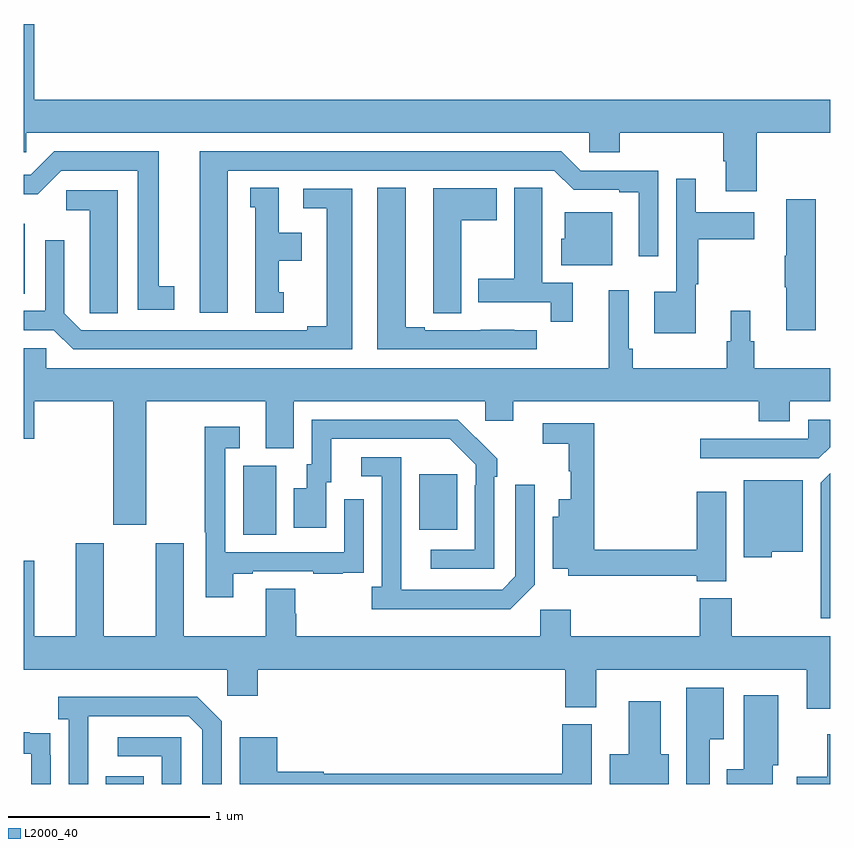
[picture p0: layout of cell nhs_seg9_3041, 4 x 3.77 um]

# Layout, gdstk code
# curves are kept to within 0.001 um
import gdstk
lib = gdstk.Library(unit=1e-6, precision=1e-09)
def R(c, l, rs):  # rectangles x0, y0, x1, y1
    for r in rs: c.add(gdstk.rectangle(r[:2], r[2:], *l))
def P(c, l, *ps):  # polygons
    for p in ps: c.add(gdstk.Polygon(p, *l))
L2000_40 = (2000, 40)

nhs_seg9_3041 = lib.new_cell('nhs_seg9_3041')
R(nhs_seg9_3041, L2000_40, [(285.407,1214.5,285.595,1214.539), (286.088,1215.736,286.252,1216.08), (286.961,1215.761,287.149,1216.036), (285,1216.933,285.004,1217.281)])
P(nhs_seg9_3041, L2000_40, [(285.052,1218.271),(285,1218.271),(285,1217.634),(285.012,1217.634),(285.012,1217.732),(287.805,1217.732),(287.805,1217.634),(287.957,1217.634),(287.957,1217.732),(288.47,1217.732),(288.47,1217.59),(288.482,1217.59),(288.482,1217.442),(288.635,1217.442),(288.635,1217.732),(289,1217.732),(289,1217.896),(285.052,1217.896)],
  [(285.745,1216.97),(285.67,1216.97),(285.67,1217.64),(285.15,1217.64),(285.033,1217.523),(285,1217.523),(285,1217.426),(285.068,1217.426),(285.186,1217.544),(285.566,1217.544),(285.566,1216.854),(285.745,1216.854)],
  [(286.012,1217.544),(287.631,1217.544),(287.727,1217.448),(287.954,1217.448),(287.954,1217.436),(288.05,1217.436),(288.05,1217.118),(288.147,1217.118),(288.147,1217.544),(287.763,1217.544),(287.667,1217.64),(285.872,1217.64),(285.872,1216.839),(286.012,1216.839)],
  [(288.334,1216.98),(288.346,1216.98),(288.346,1217.204),(288.625,1217.204),(288.625,1217.338),(288.334,1217.338),(288.334,1217.503),(288.237,1217.503),(288.237,1216.942),(288.128,1216.942),(288.128,1216.736),(288.334,1216.736)],
  [(287.545,1216.752),(287.432,1216.752),(287.432,1216.753),(287.266,1216.753),(287.266,1216.752),(286.99,1216.752),(286.99,1216.767),(286.894,1216.767),(286.894,1217.459),(286.754,1217.459),(286.754,1216.656),(287.545,1216.656)],
  [(286.288,1216.941),(286.264,1216.941),(286.264,1217.096),(286.378,1217.096),(286.378,1217.236),(286.264,1217.236),(286.264,1217.459),(286.124,1217.459),(286.124,1217.361),(286.148,1217.361),(286.148,1216.839),(286.288,1216.839)],
  [(287.723,1216.986),(287.572,1216.986),(287.572,1217.348),(287.571,1217.348),(287.571,1217.459),(287.432,1217.459),(287.432,1217.007),(287.255,1217.007),(287.255,1216.89),(287.614,1216.89),(287.614,1216.794),(287.723,1216.794)],
  [(287.17,1217.296),(287.347,1217.296),(287.347,1217.455),(287.03,1217.455),(287.03,1216.945),(287.031,1216.945),(287.031,1216.837),(287.17,1216.837)],
  [(286.63,1217.454),(286.386,1217.454),(286.386,1217.358),(286.502,1217.358),(286.502,1216.772),(286.406,1216.772),(286.406,1216.752),(285.285,1216.752),(285.201,1216.836),(285.201,1217.197),(285.105,1217.197),(285.105,1216.848),(285,1216.848),(285,1216.752),(285.149,1216.752),(285.245,1216.656),(286.63,1216.656)],
  [(285.466,1217.445),(285.21,1217.445),(285.21,1217.348),(285.326,1217.348),(285.326,1216.945),(285.327,1216.945),(285.327,1216.837),(285.466,1216.837)],
  [(288.929,1217.401),(288.782,1217.401),(288.782,1217.12),(288.775,1217.12),(288.775,1216.964),(288.782,1216.964),(288.782,1216.752),(288.929,1216.752)],
  [(287.92,1217.338),(287.684,1217.338),(287.684,1217.205),(287.666,1217.205),(287.666,1217.075),(287.92,1217.075)],
  [(285.607,1216.4),(286.199,1216.4),(286.199,1216.165),(286.339,1216.165),(286.339,1216.4),(287.289,1216.4),(287.289,1216.302),(287.428,1216.302),(287.428,1216.4),(288.647,1216.4),(288.647,1216.301),(288.799,1216.301),(288.799,1216.4),(289,1216.4),(289,1216.564),(288.623,1216.564),(288.623,1216.698),(288.604,1216.698),(288.604,1216.849),(288.506,1216.849),(288.506,1216.698),(288.487,1216.698),(288.487,1216.564),(288.02,1216.564),(288.02,1216.66),(288,1216.66),(288,1216.951),(287.903,1216.951),(287.903,1216.564),(285.111,1216.564),(285.111,1216.662),(285,1216.662),(285,1216.212),(285.052,1216.212),(285.052,1216.4),(285.443,1216.4),(285.443,1215.786),(285.607,1215.786)],
  [(287.334,1216.025),(287.349,1216.025),(287.349,1216.113),(287.152,1216.308),(286.428,1216.308),(286.428,1216.086),(286.403,1216.086),(286.403,1215.967),(286.34,1215.967),(286.34,1215.771),(286.501,1215.771),(286.501,1215.996),(286.525,1215.996),(286.525,1216.212),(287.113,1216.212),(287.241,1216.083),(287.241,1215.983),(287.238,1215.983),(287.238,1215.663),(287.019,1215.663),(287.019,1215.567),(287.334,1215.567)],
  [(289,1216.171),(289,1216.308),(288.891,1216.308),(288.891,1216.212),(288.357,1216.212),(288.357,1216.116),(288.945,1216.116)],
  [(288.484,1215.949),(288.338,1215.949),(288.338,1215.662),(287.831,1215.662),(287.831,1216.29),(287.574,1216.29),(287.574,1216.189),(287.703,1216.189),(287.703,1216.053),(287.714,1216.053),(287.714,1215.913),(287.654,1215.913),(287.654,1215.826),(287.624,1215.826),(287.624,1215.569),(287.7,1215.569),(287.7,1215.534),(288.338,1215.534),(288.338,1215.506),(288.484,1215.506)],
  [(286.039,1215.543),(286.135,1215.543),(286.135,1215.555),(286.435,1215.555),(286.435,1215.543),(286.583,1215.543),(286.583,1215.549),(286.685,1215.549),(286.685,1215.658),(286.686,1215.658),(286.686,1215.913),(286.59,1215.913),(286.59,1215.651),(285.999,1215.651),(285.999,1216.167),(286.072,1216.167),(286.072,1216.273),(285.898,1216.273),(285.898,1215.748),(285.903,1215.748),(285.903,1215.426),(286.039,1215.426)],
  [(287.535,1215.489),(287.535,1215.985),(287.439,1215.985),(287.439,1215.531),(287.373,1215.465),(286.873,1215.465),(286.872,1216.122),(286.674,1216.122),(286.674,1216.026),(286.776,1216.026),(286.776,1215.478),(286.725,1215.478),(286.725,1215.368),(287.414,1215.368)],
  [(289,1216.042),(288.953,1215.995),(288.953,1215.323),(289,1215.323)],
  [(288.711,1215.653),(288.865,1215.653),(288.865,1216.006),(288.572,1216.006),(288.572,1215.626),(288.711,1215.626)],
  [(289,1215.232),(288.513,1215.232),(288.513,1215.421),(288.353,1215.421),(288.353,1215.232),(287.714,1215.232),(287.714,1215.364),(287.562,1215.364),(287.562,1215.232),(286.352,1215.232),(286.352,1215.345),(286.347,1215.345),(286.347,1215.47),(286.199,1215.47),(286.199,1215.232),(285.793,1215.232),(285.793,1215.694),(285.653,1215.694),(285.653,1215.232),(285.397,1215.232),(285.397,1215.694),(285.257,1215.694),(285.257,1215.232),(285.052,1215.232),(285.052,1215.607),(285,1215.607),(285,1215.068),(286.008,1215.068),(286.008,1214.937),(286.16,1214.937),(286.16,1215.068),(287.687,1215.068),(287.687,1214.881),(287.839,1214.881),(287.839,1215.068),(288.884,1215.068),(288.884,1214.874),(289,1214.874)],
  [(288.403,1214.723),(288.472,1214.723),(288.472,1214.977),(288.287,1214.977),(288.287,1214.5),(288.403,1214.5)],
  [(288.715,1214.592),(288.742,1214.592),(288.742,1214.941),(288.572,1214.941),(288.572,1214.572),(288.488,1214.572),(288.488,1214.5),(288.715,1214.5)],
  [(285.318,1214.635),(285.319,1214.835),(285.819,1214.835),(285.885,1214.769),(285.885,1214.5),(285.981,1214.5),(285.981,1214.811),(285.86,1214.932),(285.171,1214.932),(285.171,1214.822),(285.222,1214.822),(285.222,1214.5),(285.318,1214.5)],
  [(288.199,1214.647),(288.16,1214.647),(288.16,1214.911),(288.002,1214.911),(288.002,1214.647),(287.906,1214.647),(287.906,1214.5),(288.199,1214.5)],
  [(287.818,1214.796),(287.672,1214.796),(287.672,1214.552),(286.488,1214.552),(286.488,1214.56),(286.258,1214.56),(286.258,1214.731),(286.07,1214.731),(286.07,1214.5),(287.818,1214.5)],
  [(285.132,1214.642),(285.131,1214.642),(285.131,1214.751),(285.029,1214.751),(285.029,1214.758),(285,1214.758),(285,1214.649),(285.036,1214.649),(285.036,1214.5),(285.132,1214.5)],
  [(289,1214.746),(288.986,1214.746),(288.986,1214.535),(288.834,1214.535),(288.834,1214.5),(289,1214.5)],
  [(285.78,1214.733),(285.465,1214.733),(285.465,1214.637),(285.684,1214.637),(285.684,1214.5),(285.78,1214.5)])

lib.write_gds('nhs_seg9_3041.gds')
